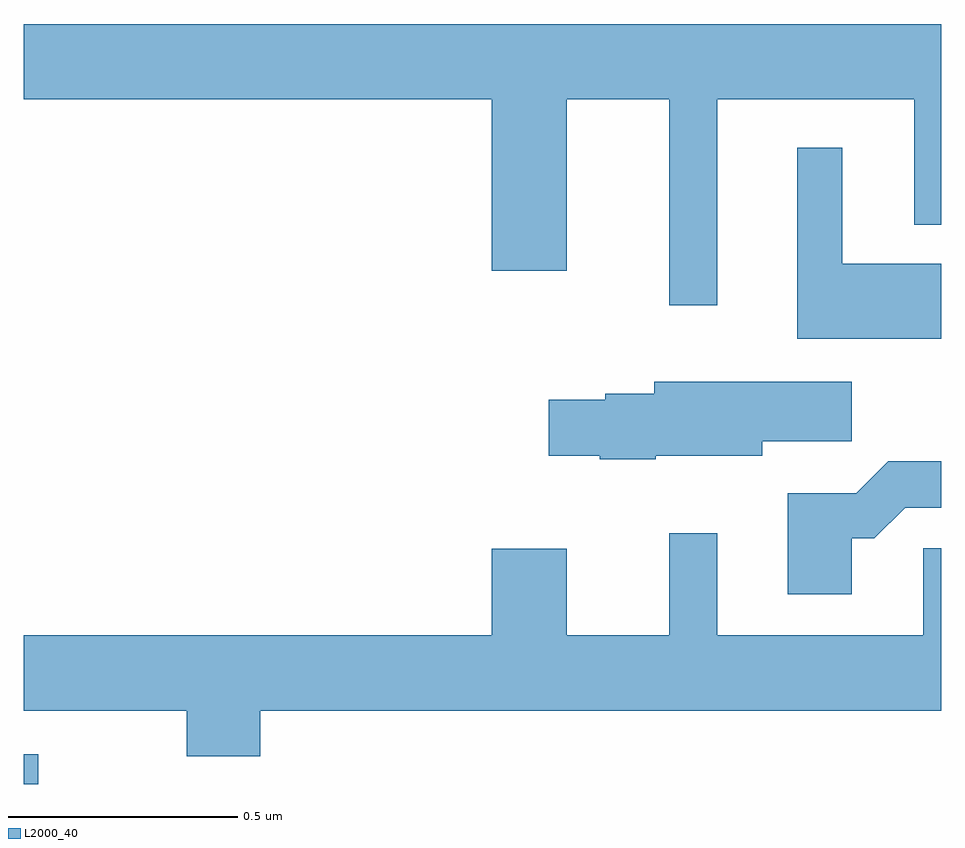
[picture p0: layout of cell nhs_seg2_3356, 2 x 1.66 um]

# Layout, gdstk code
import gdstk
lib = gdstk.Library(unit=1e-6, precision=1e-09)
def R(c, l, rs):  # rectangles x0, y0, x1, y1
    for r in rs: c.add(gdstk.rectangle(r[:2], r[2:], *l))
def P(c, l, *ps):  # polygons
    for p in ps: c.add(gdstk.Polygon(p, *l))
L2000_40 = (2000, 40)

nhs_seg2_3356 = lib.new_cell('nhs_seg2_3356')
R(nhs_seg2_3356, L2000_40, [(152,656.8,152.032,656.865)])
P(nhs_seg2_3356, L2000_40, [(153.511,658.292),(153.941,658.292),(153.941,658.019),(154,658.019),(154,658.456),(152,658.456),(152,658.292),(153.02,658.292),(153.02,657.918),(153.184,657.918),(153.184,658.292),(153.407,658.292),(153.407,657.843),(153.511,657.843)],
  [(154,657.934),(153.784,657.934),(153.784,658.186),(153.686,658.186),(153.686,657.77),(154,657.77)],
  [(153.378,657.515),(153.61,657.515),(153.61,657.547),(153.805,657.547),(153.805,657.676),(153.374,657.676),(153.374,657.65),(153.267,657.65),(153.267,657.637),(153.144,657.637),(153.144,657.515),(153.256,657.515),(153.256,657.508),(153.378,657.508)],
  [(153.805,657.335),(153.854,657.335),(153.921,657.402),(154,657.402),(154,657.503),(153.884,657.503),(153.814,657.433),(153.665,657.433),(153.665,657.213),(153.805,657.213)],
  [(152.516,656.96),(154,656.96),(154,657.314),(153.96,657.314),(153.96,657.124),(153.511,657.124),(153.511,657.346),(153.407,657.346),(153.407,657.124),(153.184,657.124),(153.184,657.313),(153.02,657.313),(153.02,657.124),(152,657.124),(152,656.96),(152.356,656.96),(152.356,656.861),(152.516,656.861)])

lib.write_gds('nhs_seg2_3356.gds')
